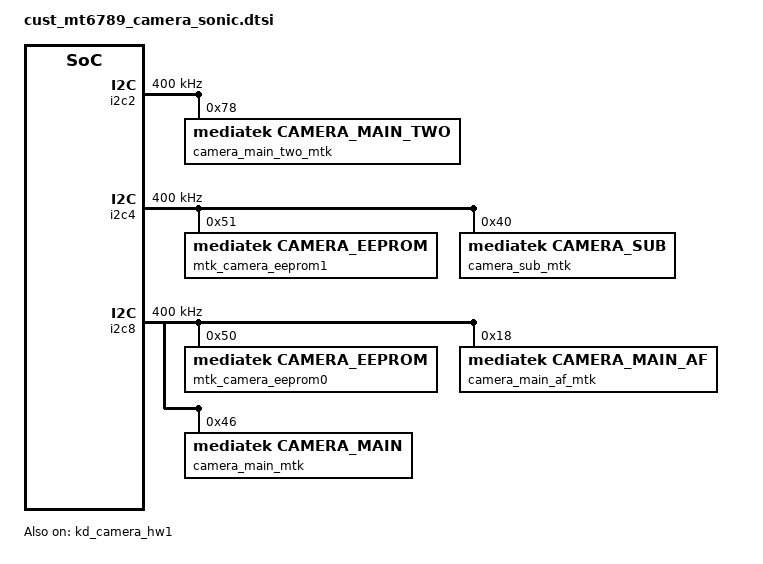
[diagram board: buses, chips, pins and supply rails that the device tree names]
// SPDX-License-Identifier: GPL-2.0
/* Copyright (c) 2020 MediaTek Inc. */
/* CAMERA GPIO standardization */

&pio {
	camera_pins_cam0_rst_0: cam0@0 {
		pins_cmd_dat {
			pinmux = <PINMUX_GPIO16__FUNC_GPIO16>;
			slew-rate = <1>;
			output-low;
		};
	};
	camera_pins_cam0_rst_1: cam0@1 {
		pins_cmd_dat {
			pinmux = <PINMUX_GPIO16__FUNC_GPIO16>;
			slew-rate = <1>;
			output-high;
		};
	};

	camera_pins_cam0_vcama_0: cam0@2 {
		pins_cmd_dat {
			pinmux = <PINMUX_GPIO159__FUNC_GPIO159>;
			slew-rate = <1>;
			output-low;
		};
	};
	camera_pins_cam0_vcama_1: cam0@3 {
		pins_cmd_dat {
			pinmux = <PINMUX_GPIO159__FUNC_GPIO159>;
			slew-rate = <1>;
			output-high;
		};
	};

	camera_pins_cam0_vcamd_0: cam0@4 {
		pins_cmd_dat {
			pinmux = <PINMUX_GPIO158__FUNC_GPIO158>;
			slew-rate = <1>;
			output-low;
		};
	};
	camera_pins_cam0_vcamd_1: cam0@5 {
		pins_cmd_dat {
			pinmux = <PINMUX_GPIO158__FUNC_GPIO158>;
			slew-rate = <1>;
			output-high;
		};
	};

	camera_pins_cam0_vcamio_0: cam0@6 {
		pins_cmd_dat {
			pinmux = <PINMUX_GPIO153__FUNC_GPIO153>;
			slew-rate = <1>;
			output-low;
		};
	};
	camera_pins_cam0_vcamio_1: cam0@7 {
		pins_cmd_dat {
			pinmux = <PINMUX_GPIO153__FUNC_GPIO153>;
			slew-rate = <1>;
			output-high;
		};
	};

	camera_pins_cam0_mclk_off: camera_pins_cam0_mclk_off {
		pins_cmd_dat {
			pinmux = <PINMUX_GPIO126__FUNC_GPIO126>;
			drive-strength = <1>;
		};
	};
	camera_pins_cam0_mclk_2ma: camera_pins_cam0_mclk_2ma {
		pins_cmd_dat {
			pinmux = <PINMUX_GPIO126__FUNC_CMMCLK0>;
			drive-strength = <0>;
		};
	};
	camera_pins_cam0_mclk_4ma: camera_pins_cam0_mclk_4ma {
		pins_cmd_dat {
			pinmux = <PINMUX_GPIO126__FUNC_CMMCLK0>;
			drive-strength = <1>;
		};
	};
	camera_pins_cam0_mclk_6ma: camera_pins_cam0_mclk_6ma {
		pins_cmd_dat {
			pinmux = <PINMUX_GPIO126__FUNC_CMMCLK0>;
			drive-strength = <2>;
		};
	};
	camera_pins_cam0_mclk_8ma: camera_pins_cam0_mclk_8ma {
		pins_cmd_dat {
			pinmux = <PINMUX_GPIO126__FUNC_CMMCLK0>;
			drive-strength = <3>;
		};
	};

	//FRONT
	camera_pins_cam1_rst_0: cam1@0 {
		pins_cmd_dat {
			pinmux = <PINMUX_GPIO20__FUNC_GPIO20>;
			slew-rate = <1>;
			output-low;
		};
	};
	camera_pins_cam1_rst_1: cam1@1 {
		pins_cmd_dat {
			pinmux = <PINMUX_GPIO20__FUNC_GPIO20>;
			slew-rate = <1>;
			output-high;
		};
	};

	camera_pins_cam1_vcama_0: cam1@2 {
		pins_cmd_dat {
			pinmux = <PINMUX_GPIO108__FUNC_GPIO108>;
			slew-rate = <1>;
			output-low;
		};
	};
	camera_pins_cam1_vcama_1: cam1@3 {
		pins_cmd_dat {
			pinmux = <PINMUX_GPIO108__FUNC_GPIO108>;
			slew-rate = <1>;
			output-high;
		};
	};

	camera_pins_cam1_vcamd_0: cam1@4 {
		pins_cmd_dat {
			pinmux = <PINMUX_GPIO155__FUNC_GPIO155>;
			slew-rate = <1>;
			output-low;
		};
	};
	camera_pins_cam1_vcamd_1: cam1@5 {
		pins_cmd_dat {
			pinmux = <PINMUX_GPIO155__FUNC_GPIO155>;
			slew-rate = <1>;
			output-high;
		};
	};

	camera_pins_cam1_vcamio_0: cam1@6 {
		pins_cmd_dat {
			pinmux = <PINMUX_GPIO153__FUNC_GPIO153>;
			slew-rate = <1>;
			output-low;
		};
	};
	camera_pins_cam1_vcamio_1: cam1@7 {
		pins_cmd_dat {
			pinmux = <PINMUX_GPIO153__FUNC_GPIO153>;
			slew-rate = <1>;
			output-high;
		};
	};

	camera_pins_cam1_mclk_off: camera_pins_cam1_mclk_off {
		pins_cmd_dat {
			pinmux = <PINMUX_GPIO128__FUNC_GPIO128>;
			drive-strength = <1>;
		};
	};
	camera_pins_cam1_mclk_2ma: camera_pins_cam1_mclk_2ma {
		pins_cmd_dat {
			pinmux = <PINMUX_GPIO128__FUNC_CMMCLK2>;
			drive-strength = <0>;
		};
	};
	camera_pins_cam1_mclk_4ma: camera_pins_cam1_mclk_4ma {
		pins_cmd_dat {
			pinmux = <PINMUX_GPIO128__FUNC_CMMCLK2>;
			drive-strength = <1>;
		};
	};
	camera_pins_cam1_mclk_6ma: camera_pins_cam1_mclk_6ma {
		pins_cmd_dat {
			pinmux = <PINMUX_GPIO128__FUNC_CMMCLK2>;
			drive-strength = <2>;
		};
	};
	camera_pins_cam1_mclk_8ma: camera_pins_cam1_mclk_8ma {
		pins_cmd_dat {
			pinmux = <PINMUX_GPIO128__FUNC_CMMCLK2>;
			drive-strength = <3>;
		};
	};

	camera_pins_default: camdefault {
	};
};

&kd_camera_hw1 {
	pinctrl-names = "default",
			"cam0_rst0", "cam0_rst1",
			"cam0_ldo_vcama_0", "cam0_ldo_vcama_1",
			"cam0_ldo_vcamd_0", "cam0_ldo_vcamd_1",
			"cam0_ldo_vcamio_0","cam0_ldo_vcamio_1",
			"cam0_mclk_off",
			"cam0_mclk_2mA", "cam0_mclk_4mA",
			"cam0_mclk_6mA", "cam0_mclk_8mA",
			//FRONT
			"cam1_rst0", "cam1_rst1",
			"cam1_ldo_vcama_0", "cam1_ldo_vcama_1",
			"cam1_ldo_vcamd_0", "cam1_ldo_vcamd_1",
			"cam1_ldo_vcamio_0","cam1_ldo_vcamio_1",
			"cam1_mclk_off",
			"cam1_mclk_2mA", "cam1_mclk_4mA",
			"cam1_mclk_6mA", "cam1_mclk_8mA";

	pinctrl-0 = <&camera_pins_default>;
	pinctrl-1 = <&camera_pins_cam0_rst_0>;
	pinctrl-2 = <&camera_pins_cam0_rst_1>;
	pinctrl-3 = <&camera_pins_cam0_vcama_0>;
	pinctrl-4 = <&camera_pins_cam0_vcama_1>;
	pinctrl-5 = <&camera_pins_cam0_vcamd_0>;
	pinctrl-6 = <&camera_pins_cam0_vcamd_1>;
	pinctrl-7 = <&camera_pins_cam0_vcamio_0>;
	pinctrl-8 = <&camera_pins_cam0_vcamio_1>;
	pinctrl-9 = <&camera_pins_cam0_mclk_off>;
	pinctrl-10 = <&camera_pins_cam0_mclk_2ma>;
	pinctrl-11 = <&camera_pins_cam0_mclk_4ma>;
	pinctrl-12 = <&camera_pins_cam0_mclk_6ma>;
	pinctrl-13 = <&camera_pins_cam0_mclk_8ma>;
	//FRONT
	pinctrl-14 = <&camera_pins_cam1_rst_0>;
	pinctrl-15 = <&camera_pins_cam1_rst_1>;
	pinctrl-16 = <&camera_pins_cam1_vcama_0>;
	pinctrl-17 = <&camera_pins_cam1_vcama_1>;
	pinctrl-18 = <&camera_pins_cam1_vcamd_0>;
	pinctrl-19 = <&camera_pins_cam1_vcamd_1>;
	pinctrl-20 = <&camera_pins_cam1_vcamio_0>;
	pinctrl-21 = <&camera_pins_cam1_vcamio_1>;
	pinctrl-22 = <&camera_pins_cam1_mclk_off>;
	pinctrl-23 = <&camera_pins_cam1_mclk_2ma>;
	pinctrl-24 = <&camera_pins_cam1_mclk_4ma>;
	pinctrl-25 = <&camera_pins_cam1_mclk_6ma>;
	pinctrl-26 = <&camera_pins_cam1_mclk_8ma>;

	//cam0_vcamaf-supply = <&mt6358_vibr_reg>;

	cam0_pin_mclk = "mclk";
	cam0_pin_rst = "gpio";
	cam0_pin_vcama = "gpio";
	cam0_pin_vcamio = "gpio";
	cam0_pin_vcamd = "gpio";
	//cam0_pin_vcama1 = "regulator";
	cam0_pin_vcamaf = "regulator";

	cam1_pin_mclk = "mclk";
	cam1_pin_rst = "gpio";
	cam1_pin_vcama = "gpio";
	cam1_pin_vcamio = "gpio";
	cam1_pin_vcamd = "gpio";

	cam0_enable_sensor = "hi846_mipi_raw_sonic";
	cam1_enable_sensor = "hi556_mipi_raw_sonic";
	status = "okay";
	mtk_custom_project = "sonic";
};

/* CAMERA EEPROM */
&i2c2 {
	status = "okay";
	clock-frequency = <400000>;
	#address-cells = <1>;
	#size-cells = <0>;
	camera_main_two_mtk:camera_main_two@78 {
		compatible = "mediatek,camera_main_two";
		#thermal-sensor-cells = <0>;
		reg = <0x78>;
		status = "okay";
	};
};
&i2c4 {
	status = "okay";
	clock-frequency = <400000>;
	#address-cells = <1>;
	#size-cells = <0>;

	mtk_camera_eeprom1:camera_eeprom1@51 {
		compatible = "mediatek,camera_eeprom";
		reg = <0x51>;
		status = "okay";
	};
	camera_sub_mtk:camera_sub@40 {
		compatible = "mediatek,camera_sub";
		#thermal-sensor-cells = <0>;
		reg = <0x40>;
		status = "okay";
	};
};

&i2c8 {
	status = "okay";
	clock-frequency = <400000>;
	#address-cells = <1>;
	#size-cells = <0>;

	mtk_camera_eeprom0:camera_eeprom0@50 {
		compatible = "mediatek,camera_eeprom";
		reg = <0x50>;
		status = "okay";
	};
	camera_main_af_mtk:camera_main_af@18 {
		compatible = "mediatek,CAMERA_MAIN_AF";
		reg = <0x18>;
		status = "okay";
	};
	camera_main_mtk:camera_main@46 {
		compatible = "mediatek,camera_main";
		#thermal-sensor-cells = <0>;
		reg = <0x46>;
		status = "okay";
	};
};

/* CAMERA EEPROM end */

/* CAMERA TZ config */
&thermal_zones {
	camera_main: camera_main {
		polling-delay = <1000>; /* milliseconds */
		polling-delay-passive = <0>; /* milliseconds */
		thermal-sensors = <&camera_main_mtk>;
	};
	camera_sub: camera_sub {
		polling-delay = <1000>; /* milliseconds */
		polling-delay-passive = <0>; /* milliseconds */
		thermal-sensors = <&camera_sub_mtk>;
	};
	camera_main_two: camera_main_two {
		polling-delay = <1000>; /* milliseconds */
		polling-delay-passive = <0>; /* milliseconds */
		thermal-sensors = <&camera_main_two_mtk>;
	};
};
/* CAMERA TZ config end */
